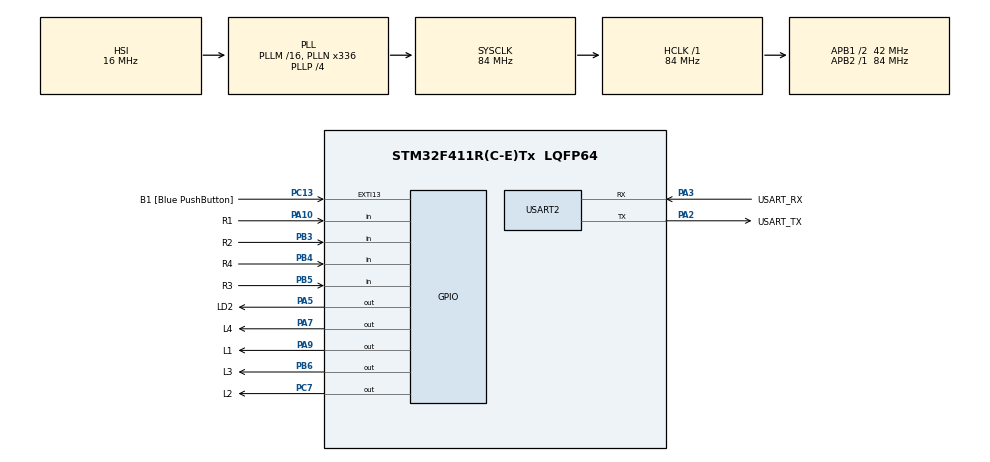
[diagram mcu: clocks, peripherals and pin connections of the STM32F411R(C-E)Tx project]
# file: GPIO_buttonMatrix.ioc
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Mcu.Family=STM32F4
Mcu.Name=STM32F411R(C-E)Tx
Mcu.Package=LQFP64
NVIC.PriorityGroup=NVIC_PRIORITYGROUP_0
PA10.GPIO_Label=R1
PA10.GPIO_Mode=GPIO_MODE_INPUT
PA10.GPIO_PuPd=GPIO_PULLUP
PA10.Signal=GPIO_Input
PA13.GPIO_Label=TMS
PA13.Mode=Serial_Wire
PA13.Signal=SYS_JTMS-SWDIO
PA14.GPIO_Label=TCK
PA14.Mode=Serial_Wire
PA14.Signal=SYS_JTCK-SWCLK
PA2.GPIO_Label=USART_TX
PA2.Mode=Asynchronous
PA2.Signal=USART2_TX
PA3.GPIO_Label=USART_RX
PA3.Mode=Asynchronous
PA3.Signal=USART2_RX
PA5.GPIO_Label=LD2
PA5.Signal=GPIO_Output
PA7.GPIO_Label=L4
PA7.GPIO_ModeDefaultOutputPP=GPIO_MODE_OUTPUT_OD
PA7.GPIO_PuPd=GPIO_NOPULL
PA7.Signal=GPIO_Output
PA9.GPIO_Label=L1
PA9.GPIO_ModeDefaultOutputPP=GPIO_MODE_OUTPUT_OD
PA9.GPIO_PuPd=GPIO_NOPULL
PA9.Signal=GPIO_Output
PB3.GPIO_Label=R2
PB3.GPIO_Mode=GPIO_MODE_INPUT
PB3.GPIO_PuPd=GPIO_PULLUP
PB3.Signal=GPIO_Input
PB4.GPIO_Label=R4
PB4.GPIO_Mode=GPIO_MODE_INPUT
PB4.GPIO_PuPd=GPIO_PULLUP
PB4.Signal=GPIO_Input
PB5.GPIO_Label=R3
PB5.GPIO_Mode=GPIO_MODE_INPUT
PB5.GPIO_PuPd=GPIO_PULLUP
PB5.Signal=GPIO_Input
PB6.GPIO_Label=L3
PB6.GPIO_ModeDefaultOutputPP=GPIO_MODE_OUTPUT_OD
PB6.GPIO_PuPd=GPIO_NOPULL
PB6.Signal=GPIO_Output
PC13-ANTI_TAMP.GPIO_Label=B1 [Blue PushButton]
PC13-ANTI_TAMP.GPIO_ModeDefaultEXTI=GPIO_MODE_IT_FALLING
PC13-ANTI_TAMP.Signal=GPXTI13
PC14-OSC32_IN.Mode=LSE-External-Oscillator
PC14-OSC32_IN.Signal=RCC_OSC32_IN
PC15-OSC32_OUT.Mode=LSE-External-Oscillator
PC15-OSC32_OUT.Signal=RCC_OSC32_OUT
PC7.GPIO_Label=L2
PC7.GPIO_ModeDefaultOutputPP=GPIO_MODE_OUTPUT_OD
PC7.GPIO_PuPd=GPIO_NOPULL
PC7.Signal=GPIO_Output
PH0\ -\ OSC_IN.Mode=HSE-External-Clock-Source
PH0\ -\ OSC_IN.Signal=RCC_OSC_IN
PH1\ -\ OSC_OUT.Mode=HSE-External-Clock-Source
PH1\ -\ OSC_OUT.Signal=RCC_OSC_OUT
ProjectManager.HeapSize=0x200
ProjectManager.StackSize=0x400
ProjectManager.TargetToolchain=STM32CubeIDE
RCC.48MHZClocksFreq_Value=84000000
RCC.AHBFreq_Value=84000000
RCC.APB1CLKDivider=RCC_HCLK_DIV2
RCC.APB1Freq_Value=42000000
RCC.APB1TimFreq_Value=84000000
RCC.APB2Freq_Value=84000000
RCC.APB2TimFreq_Value=84000000
RCC.CortexFreq_Value=84000000
RCC.FLatency-AdvancedSettings=FLASH_LATENCY_2
RCC.HCLKFreq_Value=84000000
RCC.HSE_VALUE=8000000
RCC.HSI_VALUE=16000000
RCC.PLLN=336
RCC.PLLP=RCC_PLLP_DIV4
RCC.SYSCLKFreq_VALUE=84000000
RCC.SYSCLKSource=RCC_SYSCLKSOURCE_PLLCLK
RCC.VCOOutputFreq_Value=336000000
USART2.VirtualMode=VM_ASYNC
board=NUCLEO-F411RE

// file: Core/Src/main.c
/* USER CODE BEGIN Header */
/**
  ******************************************************************************
  * @file           : main.c
  * @brief          : Main program body
  ******************************************************************************
  * @attention
  *
  * Copyright (c) 2022 STMicroelectronics.
  * All rights reserved.
  *
  * This software is licensed under terms that can be found in the LICENSE file
  * in the root directory of this software component.
  * If no LICENSE file comes with this software, it is provided AS-IS.
  *
  ******************************************************************************
  */
/* USER CODE END Header */
#include "main.h"

UART_HandleTypeDef huart2;

/* USER CODE BEGIN PV */

uint16_t buttonState = 0;
uint16_t out = 0;
uint8_t status[3] = {1,0,0};
uint8_t currentL = 0;
uint8_t currentL2 = 0;
uint16_t operateTime = 0;
uint8_t pos = 0;
int8_t score = 0;

/* USER CODE END PV */

void SystemClock_Config(void);
static void MX_GPIO_Init(void);
static void MX_USART2_UART_Init(void);
/* USER CODE BEGIN PFP */
void TestButtonMatrixRead();
void buttonMatrixRead();
void blink_correct();
void blink_incorrect();
uint8_t valueDecoder(uint16_t);
/* USER CODE END PFP */

int main(void)
{

  /* MCU Configuration--------------------------------------------------------*/

  /* Reset of all peripherals, Initializes the Flash interface and the Systick. */
  HAL_Init();

  /* Configure the system clock */
  SystemClock_Config();

  /* Initialize all configured peripherals */
  MX_GPIO_Init();
  MX_USART2_UART_Init();

  /* Infinite loop */
  /* USER CODE BEGIN WHILE */
  uint32_t clock = 0;
  static enum {init, correct, incorrect, check} State = init;
  int8_t pass[] = {6,3,3,4,0,5,0,0,0,5,6};

  while (1)
  {
	  switch(State){
	  default:
	  case init:
		  pos = 0;
		  clock = HAL_GetTick();
		  State = incorrect;
		  HAL_GPIO_WritePin(LD2_GPIO_Port, LD2_Pin, GPIO_PIN_SET);
		  break;
	  case incorrect:
		  if(HAL_GetTick() - clock > 100 && pos < 11){
			  buttonMatrixRead();
			  if (status[0] == 0){
				  State = check;
			  }
			  break;
		  }
	  case check:
		  if(HAL_GetTick() - clock > 200){
			  if (pass[pos] == valueDecoder(out)){
				  if(pos != 10 && score == 0){
					  pos++;
					  out = 10;
				  }
				  if(score == 0){
					  blink_correct();
					  out = 10;
					  State = incorrect;
				  }
			  } //// input number
			  else if (pass[pos] != valueDecoder(out)){
//				  if(valueDecoder(out) == 12){
//					  pos--;
//					  State = incorrect;
//				  } //// input bs
				  if(valueDecoder(out) == 11){
					  pos = 0;
					  score = 0;
					  State = incorrect;
				  } //// input clr
				  else if(valueDecoder(out) == 10){
					  if(pos == 10 && score == 0){
						  State = correct;
					  }
					  else if(score == 0){
						  State = incorrect;
					  }
				  } //// input ok
				  else if(valueDecoder(out) == 13){
					  State = incorrect;
				  } //// none
				  else{
					  score = -1;
					  blink_incorrect();
					  State = incorrect;
				  }
			  }
			  break;
		  }
	  case correct:
		  clock = HAL_GetTick();
		  while(HAL_GetTick() - clock < 1500){
		  	  HAL_GPIO_WritePin(LD2_GPIO_Port, LD2_Pin, GPIO_PIN_SET);
		  }
		  HAL_GPIO_WritePin(LD2_GPIO_Port, LD2_Pin, GPIO_PIN_RESET);
		  State = incorrect;

		  break;
	  }

    /* USER CODE END WHILE */

  }
}

void SystemClock_Config(void)
{
  RCC_OscInitTypeDef RCC_OscInitStruct = {0};
  RCC_ClkInitTypeDef RCC_ClkInitStruct = {0};

  /** Configure the main internal regulator output voltage
  */
  __HAL_RCC_PWR_CLK_ENABLE();
  __HAL_PWR_VOLTAGESCALING_CONFIG(PWR_REGULATOR_VOLTAGE_SCALE1);
  /** Initializes the RCC Oscillators according to the specified parameters
  * in the RCC_OscInitTypeDef structure.
  */
  RCC_OscInitStruct.OscillatorType = RCC_OSCILLATORTYPE_HSI;
  RCC_OscInitStruct.HSIState = RCC_HSI_ON;
  RCC_OscInitStruct.HSICalibrationValue = RCC_HSICALIBRATION_DEFAULT;
  RCC_OscInitStruct.PLL.PLLState = RCC_PLL_ON;
  RCC_OscInitStruct.PLL.PLLSource = RCC_PLLSOURCE_HSI;
  RCC_OscInitStruct.PLL.PLLM = 16;
  RCC_OscInitStruct.PLL.PLLN = 336;
  RCC_OscInitStruct.PLL.PLLP = RCC_PLLP_DIV4;
  RCC_OscInitStruct.PLL.PLLQ = 4;
  if (HAL_RCC_OscConfig(&RCC_OscInitStruct) != HAL_OK)
  {
    Error_Handler();
  }
  /** Initializes the CPU, AHB and APB buses clocks
  */
  RCC_ClkInitStruct.ClockType = RCC_CLOCKTYPE_HCLK|RCC_CLOCKTYPE_SYSCLK
                              |RCC_CLOCKTYPE_PCLK1|RCC_CLOCKTYPE_PCLK2;
  RCC_ClkInitStruct.SYSCLKSource = RCC_SYSCLKSOURCE_PLLCLK;
  RCC_ClkInitStruct.AHBCLKDivider = RCC_SYSCLK_DIV1;
  RCC_ClkInitStruct.APB1CLKDivider = RCC_HCLK_DIV2;
  RCC_ClkInitStruct.APB2CLKDivider = RCC_HCLK_DIV1;

  if (HAL_RCC_ClockConfig(&RCC_ClkInitStruct, FLASH_LATENCY_2) != HAL_OK)
  {
    Error_Handler();
  }
}

static void MX_USART2_UART_Init(void)
{

  huart2.Instance = USART2;
  huart2.Init.BaudRate = 115200;
  huart2.Init.WordLength = UART_WORDLENGTH_8B;
  huart2.Init.StopBits = UART_STOPBITS_1;
  huart2.Init.Parity = UART_PARITY_NONE;
  huart2.Init.Mode = UART_MODE_TX_RX;
  huart2.Init.HwFlowCtl = UART_HWCONTROL_NONE;
  huart2.Init.OverSampling = UART_OVERSAMPLING_16;
  if (HAL_UART_Init(&huart2) != HAL_OK)
  {
    Error_Handler();
  }

}

static void MX_GPIO_Init(void)
{
  GPIO_InitTypeDef GPIO_InitStruct = {0};

  /* GPIO Ports Clock Enable */
  __HAL_RCC_GPIOC_CLK_ENABLE();
  __HAL_RCC_GPIOH_CLK_ENABLE();
  __HAL_RCC_GPIOA_CLK_ENABLE();
  __HAL_RCC_GPIOB_CLK_ENABLE();

  /*Configure GPIO pin Output Level */
  HAL_GPIO_WritePin(GPIOA, LD2_Pin|L4_Pin|L1_Pin, GPIO_PIN_RESET);

  /*Configure GPIO pin Output Level */
  HAL_GPIO_WritePin(L2_GPIO_Port, L2_Pin, GPIO_PIN_RESET);

  /*Configure GPIO pin Output Level */
  HAL_GPIO_WritePin(L3_GPIO_Port, L3_Pin, GPIO_PIN_RESET);

  /*Configure GPIO pin : B1_Pin */
  GPIO_InitStruct.Pin = B1_Pin;
  GPIO_InitStruct.Mode = GPIO_MODE_IT_FALLING;
  GPIO_InitStruct.Pull = GPIO_NOPULL;
  HAL_GPIO_Init(B1_GPIO_Port, &GPIO_InitStruct);

  /*Configure GPIO pin : LD2_Pin */
  GPIO_InitStruct.Pin = LD2_Pin;
  GPIO_InitStruct.Mode = GPIO_MODE_OUTPUT_PP;
  GPIO_InitStruct.Pull = GPIO_NOPULL;
  GPIO_InitStruct.Speed = GPIO_SPEED_FREQ_LOW;
  HAL_GPIO_Init(LD2_GPIO_Port, &GPIO_InitStruct);

  /*Configure GPIO pins : L4_Pin L1_Pin */
  GPIO_InitStruct.Pin = L4_Pin|L1_Pin;
  GPIO_InitStruct.Mode = GPIO_MODE_OUTPUT_OD;
  GPIO_InitStruct.Pull = GPIO_NOPULL;
  GPIO_InitStruct.Speed = GPIO_SPEED_FREQ_LOW;
  HAL_GPIO_Init(GPIOA, &GPIO_InitStruct);

  /*Configure GPIO pin : L2_Pin */
  GPIO_InitStruct.Pin = L2_Pin;
  GPIO_InitStruct.Mode = GPIO_MODE_OUTPUT_OD;
  GPIO_InitStruct.Pull = GPIO_NOPULL;
  GPIO_InitStruct.Speed = GPIO_SPEED_FREQ_LOW;
  HAL_GPIO_Init(L2_GPIO_Port, &GPIO_InitStruct);

  /*Configure GPIO pin : R1_Pin */
  GPIO_InitStruct.Pin = R1_Pin;
  GPIO_InitStruct.Mode = GPIO_MODE_INPUT;
  GPIO_InitStruct.Pull = GPIO_PULLUP;
  HAL_GPIO_Init(R1_GPIO_Port, &GPIO_InitStruct);

  /*Configure GPIO pins : R2_Pin R4_Pin R3_Pin */
  GPIO_InitStruct.Pin = R2_Pin|R4_Pin|R3_Pin;
  GPIO_InitStruct.Mode = GPIO_MODE_INPUT;
  GPIO_InitStruct.Pull = GPIO_PULLUP;
  HAL_GPIO_Init(GPIOB, &GPIO_InitStruct);

  /*Configure GPIO pin : L3_Pin */
  GPIO_InitStruct.Pin = L3_Pin;
  GPIO_InitStruct.Mode = GPIO_MODE_OUTPUT_OD;
  GPIO_InitStruct.Pull = GPIO_NOPULL;
  GPIO_InitStruct.Speed = GPIO_SPEED_FREQ_LOW;
  HAL_GPIO_Init(L3_GPIO_Port, &GPIO_InitStruct);

}

/* USER CODE BEGIN 4 */

GPIO_TypeDef* BMPortR[4] = {R1_GPIO_Port, R2_GPIO_Port, R3_GPIO_Port, R4_GPIO_Port};
uint16_t BMPinR[4] = {R1_Pin, R2_Pin, R3_Pin, R4_Pin};

GPIO_TypeDef* BMPortL[4] = {L1_GPIO_Port, L2_GPIO_Port, L3_GPIO_Port, L4_GPIO_Port};
uint16_t BMPinL[4] = {L1_Pin, L2_Pin, L3_Pin, L4_Pin};

void TestButtonMatrixRead(){
	static uint32_t Timestamp = 0;
	//uint16_t out = 0;

	if(HAL_GetTick() - Timestamp >= 100){
		operateTime = HAL_GetTick(); ///// try to find a runtime of this function
		Timestamp = HAL_GetTick();
		for(int i = 0; i<4 ; i++){
			if(HAL_GPIO_ReadPin(BMPortR[i], BMPinR[i]) == GPIO_PIN_RESET){
				buttonState = buttonState | (1 << (i + 4 * currentL));
			}
			else{
				buttonState = buttonState & ~(1 << (i + 4 * currentL));
			}
		}
		HAL_GPIO_WritePin(BMPortL[currentL], BMPinL[currentL], GPIO_PIN_SET);
		uint8_t nextL = (currentL + 1)%4;
		HAL_GPIO_WritePin(BMPortL[nextL], BMPinL[nextL], GPIO_PIN_RESET);
		currentL = nextL;
		operateTime = HAL_GetTick() - operateTime;
	}
}

void buttonMatrixRead(){
	static uint32_t Timestamp = 0;

	if(HAL_GetTick() - Timestamp >= 50){
		Timestamp = HAL_GetTick();
		for(int i = 0 ; i< 4 ; i++){
			if(status[0] == 0 && status[1] == i && status[2] == currentL2){
				status[0] = 0x01;
			}
			if(HAL_GPIO_ReadPin(BMPortR[i], BMPinR[i]) == GPIO_PIN_RESET && status[0] == 0x01){
				out =  (0 | (1 << (i + 4 * currentL2)));
				status[0] = 0;
				status[1] = i;
				status[2] = currentL2;
			}
		}
		HAL_GPIO_WritePin(BMPortL[currentL2], BMPinL[currentL2], GPIO_PIN_SET);
		uint8_t nextL = (currentL2 + 1)%4;
		HAL_GPIO_WritePin(BMPortL[nextL], BMPinL[nextL], GPIO_PIN_RESET);
		currentL2 = nextL;

	}
}

uint8_t valueDecoder(uint16_t buttonState){
	if(buttonState == 0b1000000000000000){
		return 10; //ok
	}
	else if(buttonState == 0b0100000000000000){
		return 13; //none
	}
	else if(buttonState == 0b0010000000000000){
		return 13; //none
	}
	else if(buttonState == 0b0001000000000000){
		return 0;
	}
	else if(buttonState == 0b100000000000){
		return 13; //none
	}
	else if(buttonState == 0b010000000000){
		return 3;
	}
	else if(buttonState == 0b001000000000){
		return 2;
	}
	else if(buttonState == 0b000100000000){
		return 1;
	}
	else if(buttonState == 0b10000000){
		return 13; //backspace (12)
	}
	else if(buttonState == 0b01000000){
		return 6;
	}
	else if(buttonState == 0b00100000){
		return 5;
	}
	else if(buttonState == 0b00010000){
		return 4;
	}
	else if(buttonState == 0b1000){
		return 11; //clear
	}
	else if(buttonState == 0b0100){
		return 9;
	}
	else if(buttonState == 0b0010){
		return 8;
	}
	else if(buttonState == 0b0001){
		return 7;
	}
	else{
		return 13; // none
	}

}

void blink_correct(){
	uint32_t timestamp;
	timestamp = HAL_GetTick();
	while(HAL_GetTick() - timestamp < 100){
		HAL_GPIO_WritePin(LD2_GPIO_Port, LD2_Pin, GPIO_PIN_SET);
	}
	HAL_GPIO_WritePin(LD2_GPIO_Port, LD2_Pin, GPIO_PIN_RESET);
}

void blink_incorrect(){
	uint32_t timestamp;
	timestamp = HAL_GetTick();
	while(HAL_GetTick() - timestamp < 300){
		HAL_GPIO_WritePin(LD2_GPIO_Port, LD2_Pin, GPIO_PIN_SET);
	}
	HAL_GPIO_WritePin(LD2_GPIO_Port, LD2_Pin, GPIO_PIN_RESET);

}
/* USER CODE END 4 */

void Error_Handler(void)
{
  __disable_irq();
  while (1)
  {
  }
}
